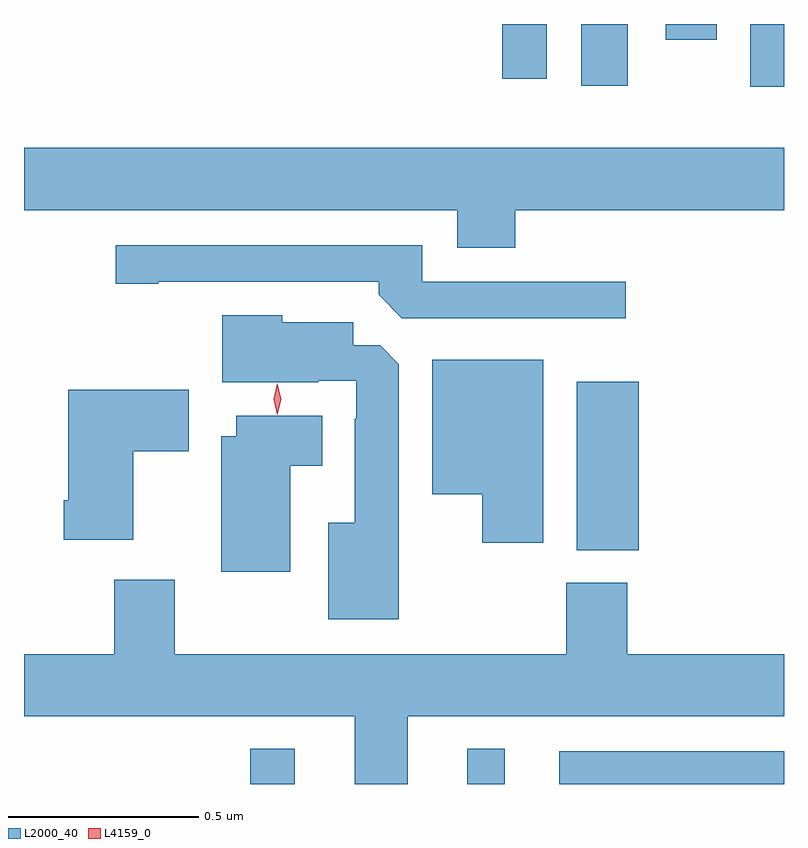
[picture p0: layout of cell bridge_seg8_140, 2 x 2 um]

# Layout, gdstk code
import gdstk
lib = gdstk.Library(unit=1e-6, precision=1e-09)
def R(c, l, rs):  # rectangles x0, y0, x1, y1
    for r in rs: c.add(gdstk.rectangle(r[:2], r[2:], *l))
def P(c, l, *ps):  # polygons
    for p in ps: c.add(gdstk.Polygon(p, *l))
L2000_40 = (2000, 40)
L4159_0 = (4159, 0)

bridge_seg8_140 = lib.new_cell('bridge_seg8_140')
R(bridge_seg8_140, L2000_40, [(496.381,1137.634,496.498,1137.727), (496.952,1137.634,497.05,1137.727), (497.193,1137.634,497.785,1137.72), (497.24,1138.249,497.403,1138.693), (497.696,1139.469,497.785,1139.634), (497.252,1139.472,497.374,1139.634), (497.044,1139.49,497.16,1139.634), (497.474,1139.592,497.608,1139.634)])
P(bridge_seg8_140, L2000_40, [(497.078,1139.144),(497.785,1139.144),(497.785,1139.308),(495.785,1139.308),(495.785,1139.144),(496.925,1139.144),(496.925,1139.045),(497.078,1139.045)],
  [(497.368,1138.956),(496.833,1138.956),(496.833,1139.052),(496.026,1139.052),(496.026,1138.951),(496.138,1138.951),(496.138,1138.956),(496.718,1138.956),(496.718,1138.922),(496.779,1138.86),(497.368,1138.86)],
  [(496.771,1138.739),(496.722,1138.788),(496.651,1138.788),(496.651,1138.849),(496.464,1138.849),(496.464,1138.867),(496.307,1138.867),(496.307,1138.691),(496.559,1138.691),(496.559,1138.695),(496.659,1138.695),(496.659,1138.595),(496.655,1138.595),(496.655,1138.321),(496.586,1138.321),(496.586,1138.067),(496.771,1138.067)],
  [(497.152,1138.75),(496.859,1138.75),(496.859,1138.397),(496.991,1138.397),(496.991,1138.269),(497.152,1138.269)],
  [(496.072,1138.51),(496.219,1138.51),(496.219,1138.672),(495.902,1138.672),(495.902,1138.381),(495.89,1138.381),(495.89,1138.277),(496.072,1138.277)],
  [(496.486,1138.472),(496.57,1138.472),(496.57,1138.603),(496.343,1138.603),(496.343,1138.549),(496.304,1138.549),(496.304,1138.193),(496.486,1138.193)],
  [(496.795,1137.812),(497.785,1137.812),(497.785,1137.976),(497.372,1137.976),(497.372,1138.164),(497.212,1138.164),(497.212,1137.976),(496.182,1137.976),(496.182,1138.171),(496.022,1138.171),(496.022,1137.976),(495.785,1137.976),(495.785,1137.812),(496.655,1137.812),(496.655,1137.634),(496.795,1137.634)])
P(bridge_seg8_140, L4159_0, [(496.452,1138.606),(496.452,1138.606),(496.442,1138.647),(496.452,1138.688),(496.452,1138.688),(496.452,1138.688),(496.462,1138.647),(496.452,1138.606)])

lib.write_gds('bridge_seg8_140.gds')
